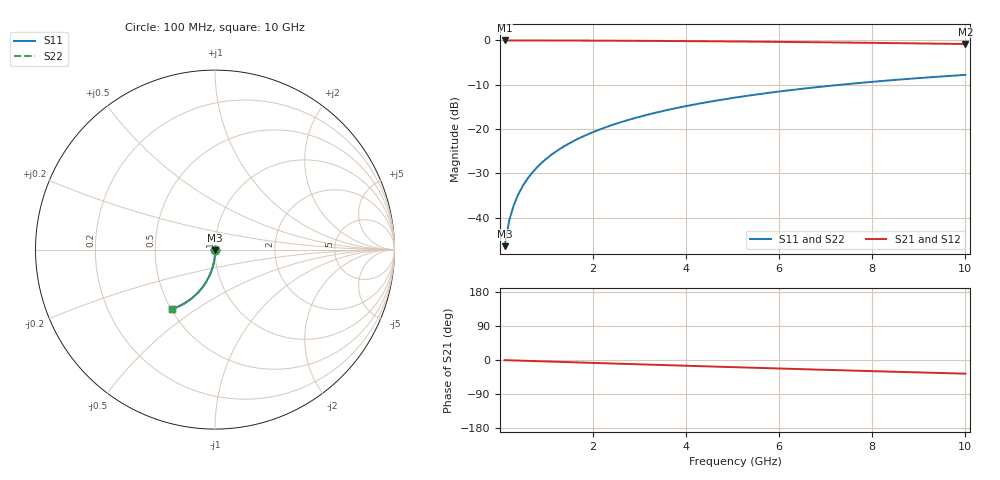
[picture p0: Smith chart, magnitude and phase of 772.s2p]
# Hz S RI R 50.00
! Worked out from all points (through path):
!   100 points, 100 MHz to 10 GHz, reference 50 ohm
!   highest |S21| = -0.01 dB at 100 MHz (marker M1); lowest = -0.8 dB at 10 GHz (marker M2)
!   group delay of S21, straight-line fit = 10 ps
!   lowest |S11| = -46.5 dB at 100 MHz (marker M3), VSWR 1.01, Z = 50.1 - j0.465 ohm
!   |S11| at or under -10 dB: start of sweep to 7.33 GHz
!   |S22| runs from -46.5 to -7.8 dB; largest |S21 - S12| = 0
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1e8  0.00102 -0.00464  0.9989 -0.00667  0.9989 -0.00667  0.00102 -0.00464
2e8  0.000931 -0.00928  0.9988 -0.0133  0.9988 -0.0133  0.000931 -0.00928
3e8  0.000776 -0.0139  0.9986 -0.02  0.9986 -0.02  0.000776 -0.0139
4e8  0.000558 -0.0186  0.9984 -0.0267  0.9984 -0.0267  0.000558 -0.0186
5e8  0.000278 -0.0232  0.9981 -0.0333  0.9981 -0.0333  0.000278 -0.0232
6e8  -6.4e-05 -0.0278  0.9977 -0.04  0.9977 -0.04  -6.4e-05 -0.0278
7e8  -0.000468 -0.0324  0.9973 -0.0466  0.9973 -0.0466  -0.000468 -0.0324
8e8  -0.000934 -0.037  0.9968 -0.0533  0.9968 -0.0533  -0.000934 -0.037
9e8  -0.00146 -0.0416  0.9962 -0.0599  0.9962 -0.0599  -0.00146 -0.0416
1.1e9  -0.0027 -0.0508  0.9949 -0.0732  0.9949 -0.0732  -0.0027 -0.0508
1.4e9  -0.00501 -0.0645  0.9924 -0.0929  0.9924 -0.0929  -0.00501 -0.0645
1.8e9  -0.00893 -0.0826  0.9882 -0.1191  0.9882 -0.1191  -0.00893 -0.0826
2.1e9  -0.0125 -0.0959  0.9844 -0.1386  0.9844 -0.1386  -0.0125 -0.0959
2.5e9  -0.018 -0.1134  0.9784 -0.1642  0.9784 -0.1642  -0.018 -0.1134
2.9e9  -0.0245 -0.1306  0.9715 -0.1895  0.9715 -0.1895  -0.0245 -0.1306
3.4e9  -0.0337 -0.1514  0.9616 -0.2205  0.9616 -0.2205  -0.0337 -0.1514
4.2e9  -0.0511 -0.183  0.9429 -0.2684  0.9429 -0.2684  -0.0511 -0.183
5.1e9  -0.0741 -0.2157  0.9181 -0.3195  0.9181 -0.3195  -0.0741 -0.2157
5.9e9  -0.0972 -0.242  0.8931 -0.3623  0.8931 -0.3623  -0.0972 -0.242
6.7e9  -0.1224 -0.2655  0.8658 -0.4022  0.8658 -0.4022  -0.1224 -0.2655
8.4e9  -0.1808 -0.3054  0.8018 -0.4773  0.8018 -0.4773  -0.1808 -0.3054
1e10  -0.2394 -0.3306  0.7367 -0.5358  0.7367 -0.5358  -0.2394 -0.3306
